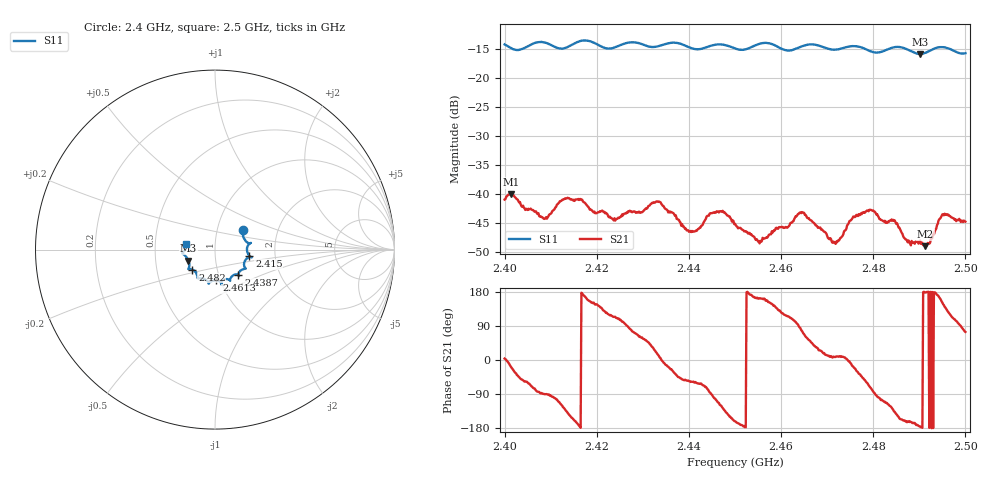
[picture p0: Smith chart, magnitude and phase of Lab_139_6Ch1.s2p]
# Hz S RI R 50
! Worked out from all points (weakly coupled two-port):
!   601 points, 2.4 GHz to 2.5 GHz, reference 50 ohm
!   highest |S21| = -40.03 dB at 2.4013 GHz (marker M1); lowest = -49.0 dB at 2.4913 GHz (marker M2)
!   lowest |S11| = -15.9 dB at 2.4902 GHz (marker M3), VSWR 1.38, Z = 36.9 - j4.66 ohm
!   |S11| at or under -10 dB: start of sweep to end of sweep
!   S12 and S22 are empty: the file has one direction only
!   S11 on the Smith chart (normalised r, x): 2.4 GHz: 1.33, +0.31; 2.415 GHz: 1.47, -0.11; 2.4387 GHz: 1.24, -0.37; 2.4613 GHz: 0.96, -0.34; 2.482 GHz: 0.76, -0.17; 2.5 GHz: 0.72, +0.05
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2.4e9  0.1579 0.1116  0.00892 0.000586  0 0  0 0
2.401333e9  0.1555 0.091  0.00951 -0.00297  0 0  0 0
2.408667e9  0.1975 0.0371  -1.88e-05 -0.0061  0 0  0 0
2.415e9  0.1921 -0.036  -0.00823 -0.00342  0 0  0 0
2.416667e9  0.2032 -0.0436  -0.00888 0.000378  0 0  0 0
2.423833e9  0.1616 -0.0828  -0.00251 0.00565  0 0  0 0
2.433333e9  0.1323 -0.1315  0.00831 0.00196  0 0  0 0
2.438667e9  0.1304 -0.1417  0.00327 -0.00413  0 0  0 0
2.4465e9  0.0845 -0.1742  -0.00271 -0.00639  0 0  0 0
2.45e9  0.0691 -0.1647  -0.00526 -0.00175  0 0  0 0
2.455333e9  0.0348 -0.1927  -0.00359 0.0011  0 0  0 0
2.461333e9  0.00769 -0.1712  -0.00221 0.00462  0 0  0 0
2.464167e9  -0.0285 -0.1815  0.000644 0.00689  0 0  0 0
2.466667e9  -0.0349 -0.1903  0.00413 0.00416  0 0  0 0
2.471667e9  -0.0622 -0.1626  0.00383 0.00053  0 0  0 0
2.476e9  -0.0959 -0.1605  0.00586 -0.00236  0 0  0 0
2.482e9  -0.1257 -0.1114  -0.00173 -0.00565  0 0  0 0
2.483333e9  -0.1394 -0.1084  -0.00264 -0.00508  0 0  0 0
2.490167e9  -0.1479 -0.0615  -0.00396 -0.000337  0 0  0 0
2.491333e9  -0.1576 -0.0442  -0.00355 0.000118  0 0  0 0
2.495167e9  -0.1819 -0.0197  -0.00563 0.00362  0 0  0 0
2.5e9  -0.1592 0.0323  0.00159 0.00555  0 0  0 0
